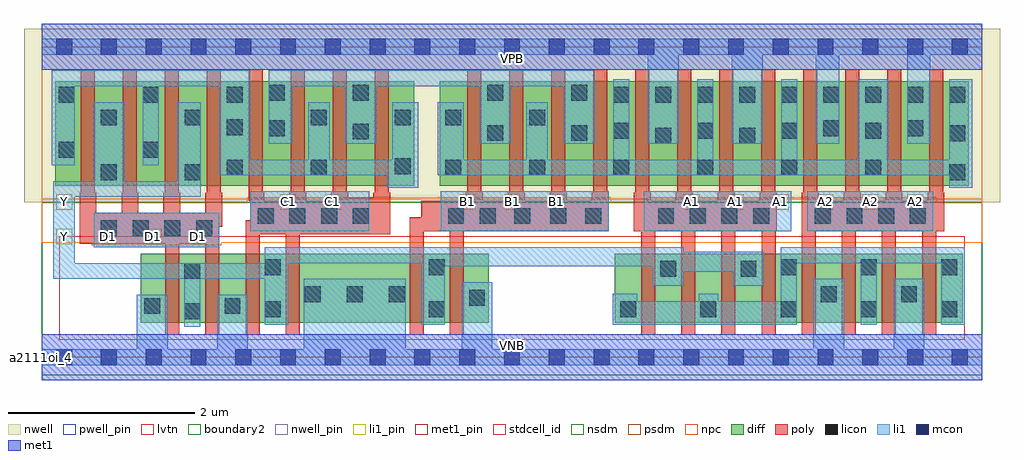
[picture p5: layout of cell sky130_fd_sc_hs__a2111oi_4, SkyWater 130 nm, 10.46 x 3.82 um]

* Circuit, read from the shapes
.subckt sky130_fd_sc_hs__a2111oi_4 A1 A2 B1 C1 D1 VGND VNB VPB VPWR Y
XM1 Y D1 VGND VNB sky130_fd_pr__nfet_01v8_lvt w=0.74 l=0.15 m=2
XM2 Y C1 VGND VNB sky130_fd_pr__nfet_01v8_lvt w=0.74 l=0.15 m=2
XM3 Y B1 VGND VNB sky130_fd_pr__nfet_01v8_lvt w=0.74 l=0.15 m=2
XM4 Y A1 n1 VNB sky130_fd_pr__nfet_01v8_lvt w=0.74 l=0.15 m=4
XM5 VGND A2 n1 VNB sky130_fd_pr__nfet_01v8_lvt w=0.74 l=0.15 m=4
XM6 Y D1 n2 VPB sky130_fd_pr__pfet_01v8 w=1.12 l=0.15 m=4
XM7 n3 C1 n2 VPB sky130_fd_pr__pfet_01v8 w=1.12 l=0.15 m=4
XM8 n3 B1 n4 VPB sky130_fd_pr__pfet_01v8 w=1.12 l=0.15 m=4
XM9 VPWR A1 n4 VPB sky130_fd_pr__pfet_01v8 w=1.12 l=0.15 m=4
XM10 VPWR A2 n4 VPB sky130_fd_pr__pfet_01v8 w=1.12 l=0.15 m=4
.ends

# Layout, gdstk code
import gdstk
lib = gdstk.Library(unit=1e-6, precision=1e-09)
def R(c, l, rs):  # rectangles x0, y0, x1, y1
    for r in rs: c.add(gdstk.rectangle(r[:2], r[2:], *l))
def A(c, l, x, y, w, h, nx, ny, dx, dy):  # array of equal rectangles
    R(c, l, [(x+i*dx, y+j*dy, x+i*dx+w, y+j*dy+h) for i in range(nx) for j in range(ny)])
def P(c, l, *ps):  # polygons
    for p in ps: c.add(gdstk.Polygon(p, *l))
nwell_pin = (64, 16)
nwell = (64, 20)
diff = (65, 20)
poly = (66, 20)
licon = (66, 44)
li1_pin = (67, 16)
li1 = (67, 20)
mcon = (67, 44)
met1_pin = (68, 16)
met1 = (68, 20)
stdcell_id = (81, 4)
nsdm = (93, 44)
psdm = (94, 20)
npc = (95, 20)
pwell_pin = (122, 16)
lvtn = (125, 44)
boundary2 = (236, 0)

sky130_fd_sc_hs__a2111oi = lib.new_cell('sky130_fd_sc_hs__a2111oi_4')
R(sky130_fd_sc_hs__a2111oi, nwell_pin, [(0,3.085,10.08,3.33)])
R(sky130_fd_sc_hs__a2111oi, nwell, [(-0.19,1.66,10.27,3.52)])
R(sky130_fd_sc_hs__a2111oi, diff, [(1.06,0.37,4.79,1.11), (6.14,0.37,9.87,1.11), (0.145,1.84,3.995,2.96), (4.265,1.84,9.935,2.96)])
P(sky130_fd_sc_hs__a2111oi, poly, [(1.935,1.765),(1.92,1.765),(1.92,3.09),(1.77,3.09),(1.77,1.765),(1.755,1.765),(1.755,1.55),(1.485,1.55),(1.485,1.765),(1.47,1.765),(1.47,3.09),(1.32,3.09),(1.32,1.765),(1.305,1.765),(1.305,1.55),(1.035,1.55),(1.035,1.765),(1.02,1.765),(1.02,3.09),(0.87,3.09),(0.87,1.765),(0.855,1.765),(0.855,1.55),(0.585,1.55),(0.585,1.765),(0.57,1.765),(0.57,3.09),(0.42,3.09),(0.42,1.765),(0.405,1.765),(0.405,1.22),(1.325,1.22),(1.325,0.24),(1.475,0.24),(1.475,1.22),(1.755,1.22),(1.755,0.24),(1.905,0.24),(1.905,1.4),(1.935,1.4)],
  [(3.735,1.765),(3.72,1.765),(3.72,3.09),(3.57,3.09),(3.57,1.765),(3.555,1.765),(3.555,1.71),(3.285,1.71),(3.285,1.765),(3.27,1.765),(3.27,3.09),(3.12,3.09),(3.12,1.765),(3.105,1.765),(3.105,1.68),(2.835,1.68),(2.835,1.765),(2.82,1.765),(2.82,3.09),(2.67,3.09),(2.67,1.765),(2.655,1.765),(2.655,1.68),(2.385,1.68),(2.385,1.765),(2.37,1.765),(2.37,3.09),(2.22,3.09),(2.22,1.68),(2.235,1.68),(2.235,1.47),(2.185,1.47),(2.185,0.24),(2.335,0.24),(2.335,1.32),(2.615,1.32),(2.615,0.24),(2.765,0.24),(2.765,1.32),(3.735,1.32)],
  [(6.075,1.765),(6.06,1.765),(6.06,3.09),(5.91,3.09),(5.91,1.765),(5.895,1.765),(5.895,1.68),(5.625,1.68),(5.625,1.765),(5.61,1.765),(5.61,3.09),(5.46,3.09),(5.46,1.765),(5.445,1.765),(5.445,1.68),(5.175,1.68),(5.175,1.765),(5.16,1.765),(5.16,3.09),(5.01,3.09),(5.01,1.765),(4.995,1.765),(4.995,1.68),(4.725,1.68),(4.725,1.765),(4.71,1.765),(4.71,3.09),(4.56,3.09),(4.56,1.765),(4.545,1.765),(4.545,1.68),(4.07,1.68),(4.07,1.5),(3.945,1.5),(3.945,0.24),(4.095,0.24),(4.095,1.35),(4.375,1.35),(4.375,0.24),(4.525,0.24),(4.525,1.35),(6.075,1.35)],
  [(7.875,1.765),(7.86,1.765),(7.86,3.09),(7.71,3.09),(7.71,1.765),(7.695,1.765),(7.695,1.68),(7.425,1.68),(7.425,1.765),(7.41,1.765),(7.41,3.09),(7.26,3.09),(7.26,1.765),(7.245,1.765),(7.245,1.68),(6.975,1.68),(6.975,1.765),(6.96,1.765),(6.96,3.09),(6.81,3.09),(6.81,1.765),(6.795,1.765),(6.795,1.68),(6.525,1.68),(6.525,1.765),(6.51,1.765),(6.51,3.09),(6.36,3.09),(6.36,1.765),(6.345,1.765),(6.345,1.35),(6.425,1.35),(6.425,0.24),(6.575,0.24),(6.575,1.35),(6.855,1.35),(6.855,0.24),(7.005,0.24),(7.005,1.35),(7.285,1.35),(7.285,0.24),(7.435,0.24),(7.435,1.35),(7.715,1.35),(7.715,0.24),(7.865,0.24),(7.865,1.35),(7.875,1.35)],
  [(9.675,1.765),(9.66,1.765),(9.66,3.09),(9.51,3.09),(9.51,1.765),(9.495,1.765),(9.495,1.68),(9.225,1.68),(9.225,1.765),(9.21,1.765),(9.21,3.09),(9.06,3.09),(9.06,1.765),(9.045,1.765),(9.045,1.68),(8.775,1.68),(8.775,1.765),(8.76,1.765),(8.76,3.09),(8.61,3.09),(8.61,1.765),(8.595,1.765),(8.595,1.68),(8.325,1.68),(8.325,1.765),(8.31,1.765),(8.31,3.09),(8.16,3.09),(8.16,1.765),(8.145,1.765),(8.145,0.24),(8.295,0.24),(8.295,1.35),(8.575,1.35),(8.575,0.24),(8.725,0.24),(8.725,1.35),(9.005,1.35),(9.005,0.24),(9.155,0.24),(9.155,1.35),(9.435,1.35),(9.435,0.24),(9.585,0.24),(9.585,1.35),(9.675,1.35)])
A(sky130_fd_sc_hs__a2111oi, licon, 6.2, 0.43, 0.17, 0.17, 5, 1, 0.86, 0)
A(sky130_fd_sc_hs__a2111oi, licon, 2.82, 0.59, 0.17, 0.17, 3, 1, 0.45, 0)
A(sky130_fd_sc_hs__a2111oi, licon, 7.92, 0.88, 0.17, 0.17, 3, 1, 0.86, 0)
A(sky130_fd_sc_hs__a2111oi, licon, 0.635, 1.3, 0.17, 0.17, 4, 1, 0.34, 0)
A(sky130_fd_sc_hs__a2111oi, licon, 2.315, 1.43, 0.17, 0.17, 4, 1, 0.34, 0)
A(sky130_fd_sc_hs__a2111oi, licon, 6.605, 1.43, 0.17, 0.17, 4, 1, 0.34, 0)
A(sky130_fd_sc_hs__a2111oi, licon, 8.285, 1.43, 0.17, 0.17, 4, 1, 0.34, 0)
A(sky130_fd_sc_hs__a2111oi, licon, 4.325, 1.95, 0.17, 0.17, 6, 1, 0.9, 0)
A(sky130_fd_sc_hs__a2111oi, licon, 6.125, 2.345, 0.17, 0.17, 4, 1, 0.9, 0)
A(sky130_fd_sc_hs__a2111oi, licon, 0.185, 2.73, 0.17, 0.17, 3, 1, 0.9, 0)
A(sky130_fd_sc_hs__a2111oi, licon, 6.125, 2.73, 0.17, 0.17, 9, 1, 0.45, 0)
R(sky130_fd_sc_hs__a2111oi, licon, [(1.53,0.41,1.7,0.58), (2.39,0.43,2.56,0.6), (4.15,0.43,4.32,0.6), (1.1,0.465,1.27,0.635), (1.96,0.465,2.13,0.635), (4.58,0.555,4.75,0.725), (8.35,0.59,8.52,0.76), (9.21,0.59,9.38,0.76), (1.53,0.84,1.7,1.01), (6.63,0.865,6.8,1.035), (7.49,0.865,7.66,1.035), (2.39,0.88,2.56,1.05), (4.15,0.88,4.32,1.05), (4.355,1.43,4.525,1.6), (4.695,1.43,4.865,1.6), (5.065,1.43,5.235,1.6), (5.45,1.43,5.62,1.6), (5.825,1.43,5.995,1.6), (0.635,1.9,0.805,2.07), (1.535,1.9,1.705,2.07), (9.725,1.9,9.895,2.07), (1.985,1.95,2.155,2.12), (2.885,1.95,3.055,2.12), (3.785,1.965,3.955,2.135), (0.185,2.14,0.355,2.31), (1.085,2.14,1.255,2.31), (6.575,2.29,6.745,2.46), (7.475,2.29,7.645,2.46), (9.725,2.315,9.895,2.485), (4.775,2.32,4.945,2.49), (5.675,2.32,5.845,2.49), (3.335,2.335,3.505,2.505), (2.435,2.37,2.605,2.54), (8.375,2.37,8.545,2.54), (9.275,2.37,9.445,2.54), (1.985,2.38,2.155,2.55), (0.635,2.485,0.805,2.655), (1.535,2.485,1.705,2.655), (2.885,2.485,3.055,2.655), (3.785,2.485,3.955,2.655), (4.325,2.485,4.495,2.655), (5.225,2.485,5.395,2.655), (2.435,2.75,2.605,2.92), (3.335,2.75,3.505,2.92), (4.775,2.75,4.945,2.92), (5.675,2.75,5.845,2.92)])
A(sky130_fd_sc_hs__a2111oi, li1_pin, 0.155, 1.21, 0.17, 0.17, 4, 1, 0.48, 0)
A(sky130_fd_sc_hs__a2111oi, li1_pin, 4.475, 1.58, 0.17, 0.17, 3, 1, 0.48, 0)
A(sky130_fd_sc_hs__a2111oi, li1_pin, 6.875, 1.58, 0.17, 0.17, 6, 1, 0.48, 0)
R(sky130_fd_sc_hs__a2111oi, li1_pin, [(0.155,1.58,0.325,1.75), (2.555,1.58,2.725,1.75), (3.035,1.58,3.205,1.75)])
R(sky130_fd_sc_hs__a2111oi, li1, [(0.555,1.18,1.905,1.55), (2.235,1.35,3.51,1.78), (4.275,1.35,6.075,1.78), (6.45,1.35,8.035,1.78), (8.205,1.35,9.555,1.78)])
P(sky130_fd_sc_hs__a2111oi, li1, [(9.275,2.29),(9.275,3.245),(8.545,3.245),(8.545,2.29),(8.295,2.29),(8.295,3.245),(7.725,3.245),(7.725,2.29),(7.395,2.29),(7.395,3.245),(6.825,3.245),(6.825,2.29),(6.495,2.29),(6.495,3.245),(0,3.245),(0,3.415),(10.08,3.415),(10.08,3.245),(9.525,3.245),(9.525,2.29)],
  [(1.02,0.085),(1.02,0.67),(1.35,0.67),(1.35,0.085),(1.88,0.085),(1.88,0.67),(2.21,0.67),(2.21,0.085),(2.81,0.085),(2.81,0.84),(3.9,0.84),(3.9,0.085),(4.5,0.085),(4.5,0.805),(4.83,0.805),(4.83,0.085),(8.27,0.085),(8.27,0.84),(8.6,0.84),(8.6,0.085),(9.13,0.085),(9.13,0.84),(9.46,0.84),(9.46,0.085),(10.08,0.085),(10.08,-0.085),(0,-0.085),(0,0.085)],
  [(4.035,2.735),(3.755,2.735),(3.755,2.12),(3.085,2.12),(3.085,2.735),(2.855,2.735),(2.855,2.12),(2.235,2.12),(2.235,3.075),(0.105,3.075),(0.105,2.06),(0.355,2.06),(0.355,2.905),(1.085,2.905),(1.085,2.06),(1.255,2.06),(1.255,2.905),(1.905,2.905),(1.905,1.95),(3.705,1.95),(3.705,1.82),(4.035,1.82)],
  [(7.74,1.13),(6.88,1.13),(6.88,1.18),(2.39,1.18),(2.39,1.01),(0.355,1.01),(0.355,1.72),(1.705,1.72),(1.705,2.735),(1.455,2.735),(1.455,1.89),(0.885,1.89),(0.885,2.735),(0.555,2.735),(0.555,1.89),(0.125,1.89),(0.125,0.84),(1.53,0.84),(1.53,0.33),(1.7,0.33),(1.7,0.84),(2.39,0.84),(2.39,0.35),(2.64,0.35),(2.64,1.01),(4.07,1.01),(4.07,0.35),(4.32,0.35),(4.32,0.975),(6.55,0.975),(6.55,0.77),(6.88,0.77),(6.88,0.915),(7.41,0.915),(7.41,0.77),(7.74,0.77)],
  [(5.925,3.075),(2.435,3.075),(2.435,2.29),(2.685,2.29),(2.685,2.905),(3.255,2.905),(3.255,2.29),(3.585,2.29),(3.585,2.905),(4.695,2.905),(4.695,2.29),(5.025,2.29),(5.025,2.905),(5.595,2.905),(5.595,2.29),(5.925,2.29)],
  [(9.975,2.98),(9.725,2.98),(9.725,2.12),(9.075,2.12),(9.075,2.98),(8.745,2.98),(8.745,2.12),(8.095,2.12),(8.095,2.98),(7.925,2.98),(7.925,2.12),(7.195,2.12),(7.195,2.98),(7.025,2.98),(7.025,2.12),(6.295,2.12),(6.295,2.98),(6.125,2.98),(6.125,2.12),(5.425,2.12),(5.425,2.735),(5.195,2.735),(5.195,2.12),(4.525,2.12),(4.525,2.735),(4.245,2.735),(4.245,1.95),(9.725,1.95),(9.725,1.82),(9.975,1.82)],
  [(9.89,1.18),(7.92,1.18),(7.92,0.6),(7.25,0.6),(7.25,0.68),(7.04,0.68),(7.04,0.6),(6.38,0.6),(6.38,0.68),(6.12,0.68),(6.12,0.35),(8.09,0.35),(8.09,1.01),(8.78,1.01),(8.78,0.35),(8.95,0.35),(8.95,1.01),(9.64,1.01),(9.64,0.35),(9.89,0.35)])
A(sky130_fd_sc_hs__a2111oi, mcon, 0.155, -0.085, 0.17, 0.17, 21, 2, 0.48, 3.33)
R(sky130_fd_sc_hs__a2111oi, met1_pin, [(0,0,10.08,0.245), (0,3.085,10.08,3.33)])
R(sky130_fd_sc_hs__a2111oi, met1, [(0,-0.245,10.08,0.245), (0,3.085,10.08,3.575)])
R(sky130_fd_sc_hs__a2111oi, stdcell_id, [(0,0,10.08,3.33)])
R(sky130_fd_sc_hs__a2111oi, nsdm, [(0,-0.19,10.08,1.66)])
P(sky130_fd_sc_hs__a2111oi, psdm, [(10.08,3.52),(0,3.52),(0,1.66),(2.205,1.66),(2.205,1.71),(6.1,1.71),(6.1,1.66),(6.495,1.66),(6.495,1.71),(9.585,1.71),(9.585,1.66),(10.08,1.66)])
P(sky130_fd_sc_hs__a2111oi, npc, [(10.08,1.7),(0,1.7),(0,1.23),(0.535,1.23),(0.535,1.2),(1.925,1.2),(1.925,1.23),(10.08,1.23)])
R(sky130_fd_sc_hs__a2111oi, pwell_pin, [(0,0,10.08,0.245)])
R(sky130_fd_sc_hs__a2111oi, lvtn, [(0.19,0.19,9.89,1.3)])
R(sky130_fd_sc_hs__a2111oi, boundary2, [(0,0,10.08,3.33)])
sky130_fd_sc_hs__a2111oi.add(gdstk.Label('a2111oi_4', (0,0), layer=83, texttype=44))
sky130_fd_sc_hs__a2111oi.add(gdstk.Label('VNB', (5.04,0.123), layer=64, texttype=59))
sky130_fd_sc_hs__a2111oi.add(gdstk.Label('VPB', (5.04,3.208), layer=64, texttype=5))
sky130_fd_sc_hs__a2111oi.add(gdstk.Label('VPWR', (5.04,3.208), layer=68, texttype=5))
sky130_fd_sc_hs__a2111oi.add(gdstk.Label('VGND', (5.04,0.123), layer=68, texttype=5))
sky130_fd_sc_hs__a2111oi.add(gdstk.Label('Y', (0.24,1.295), layer=67, texttype=5))
sky130_fd_sc_hs__a2111oi.add(gdstk.Label('Y', (0.24,1.665), layer=67, texttype=5))
sky130_fd_sc_hs__a2111oi.add(gdstk.Label('D1', (0.72,1.295), layer=67, texttype=5))
sky130_fd_sc_hs__a2111oi.add(gdstk.Label('D1', (1.2,1.295), layer=67, texttype=5))
sky130_fd_sc_hs__a2111oi.add(gdstk.Label('D1', (1.68,1.295), layer=67, texttype=5))
sky130_fd_sc_hs__a2111oi.add(gdstk.Label('C1', (2.64,1.665), layer=67, texttype=5))
sky130_fd_sc_hs__a2111oi.add(gdstk.Label('C1', (3.12,1.665), layer=67, texttype=5))
sky130_fd_sc_hs__a2111oi.add(gdstk.Label('B1', (4.56,1.665), layer=67, texttype=5))
sky130_fd_sc_hs__a2111oi.add(gdstk.Label('B1', (5.04,1.665), layer=67, texttype=5))
sky130_fd_sc_hs__a2111oi.add(gdstk.Label('B1', (5.52,1.665), layer=67, texttype=5))
sky130_fd_sc_hs__a2111oi.add(gdstk.Label('A2', (8.4,1.665), layer=67, texttype=5))
sky130_fd_sc_hs__a2111oi.add(gdstk.Label('A2', (8.88,1.665), layer=67, texttype=5))
sky130_fd_sc_hs__a2111oi.add(gdstk.Label('A2', (9.36,1.665), layer=67, texttype=5))
sky130_fd_sc_hs__a2111oi.add(gdstk.Label('A1', (6.96,1.665), layer=67, texttype=5))
sky130_fd_sc_hs__a2111oi.add(gdstk.Label('A1', (7.44,1.665), layer=67, texttype=5))
sky130_fd_sc_hs__a2111oi.add(gdstk.Label('A1', (7.92,1.665), layer=67, texttype=5))

lib.write_gds('sky130_fd_sc_hs__a2111oi_4.gds')
